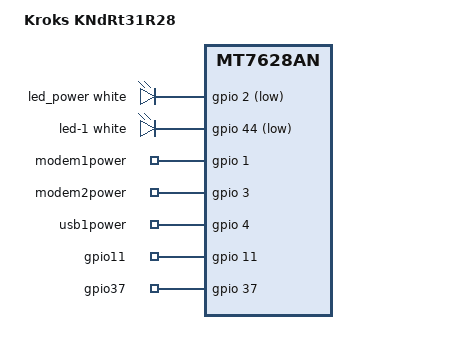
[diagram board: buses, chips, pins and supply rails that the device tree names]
#include "mt7628an_kroks_4reth.dtsi"

#include <dt-bindings/leds/common.h>

/ {
	compatible = "kroks,kndrt31r28", "mediatek,mt7628an-soc";
	model = "Kroks KNdRt31R28";

	aliases {
		led-boot = &led_power;
		led-failsafe = &led_power;
		led-running = &led_power;
		led-upgrade = &led_power;
	};

	gpio-leds {
		compatible = "gpio-leds";

		led_power: led-0 {
			color = <LED_COLOR_ID_WHITE>;
			gpios = <&gpio 2 GPIO_ACTIVE_LOW>;
			function = LED_FUNCTION_POWER;
		};

		led-1 {
			color = <LED_COLOR_ID_WHITE>;
			gpios = <&gpio 44 GPIO_ACTIVE_LOW>;
			function = LED_FUNCTION_WLAN;
			linux,default-trigger = "phy0tpt";
		};
	};

	gpio_export {
		compatible = "gpio-export";
		#size-cells = <0>;

		modem1power {
			gpio-export,name = "modem1power";
			gpio-export,output = <1>;
			gpios = <&gpio 1 GPIO_ACTIVE_HIGH>;
		};

		modem2power {
			gpio-export,name = "modem2power";
			gpio-export,output = <1>;
			gpios = <&gpio 3 GPIO_ACTIVE_HIGH>;
		};

		usb1power {
			gpio-export,name = "usb1power";
			gpio-export,output = <1>;
			gpios = <&gpio 4 GPIO_ACTIVE_HIGH>;
		};

		/* deprecated */
		gpio11 {
			gpio-export,name = "gpio11";
			gpios = <&gpio 11 GPIO_ACTIVE_HIGH>;
		};

		/* deprecated */
		gpio37 {
			gpio-export,name = "gpio37";
			gpio-export,output = <0>;
			gpios = <&gpio 37 GPIO_ACTIVE_HIGH>;
		};
	};
};

&state_default {
	gpio {
		groups = "i2s", "i2c", "wled_an";
		function = "gpio";
	};

	/* deprecated */
	gpio_kdevice {
		groups = "gpio", "refclk";
		function = "gpio";
	};
};
